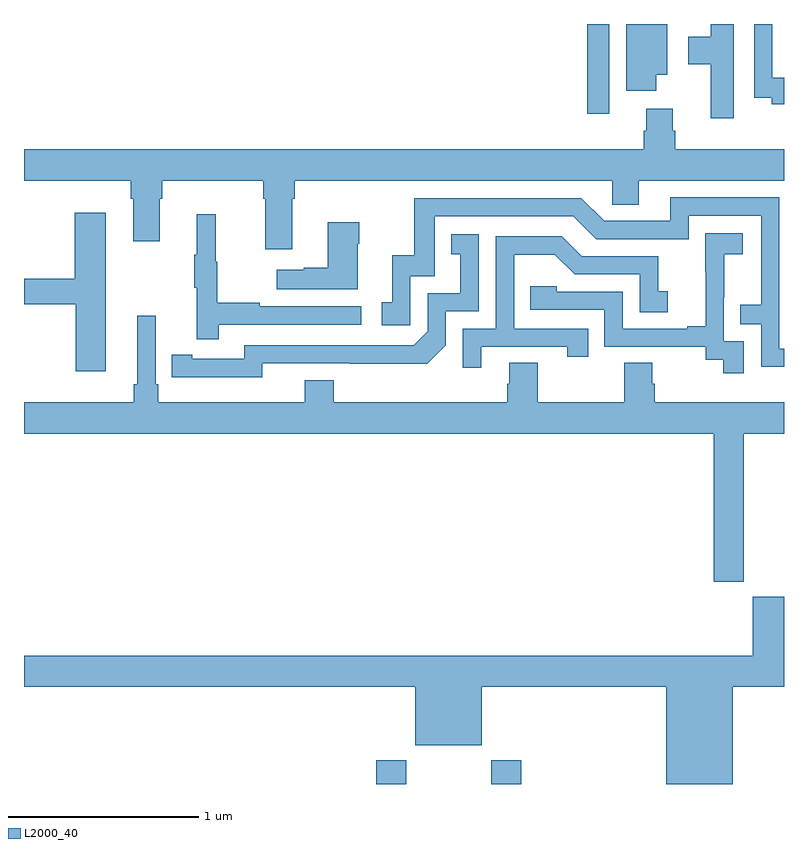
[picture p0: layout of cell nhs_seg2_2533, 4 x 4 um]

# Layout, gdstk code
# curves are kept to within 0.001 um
import gdstk
lib = gdstk.Library(unit=1e-6, precision=1e-09)
def R(c, l, rs):  # rectangles x0, y0, x1, y1
    for r in rs: c.add(gdstk.rectangle(r[:2], r[2:], *l))
def P(c, l, *ps):  # polygons
    for p in ps: c.add(gdstk.Polygon(p, *l))
L2000_40 = (2000, 40)

nhs_seg2_2533 = lib.new_cell('nhs_seg2_2533')
R(nhs_seg2_2533, L2000_40, [(244.853,637.8,245.013,637.924), (245.458,637.8,245.618,637.924), (245.965,641.328,246.081,641.8)])
P(nhs_seg2_2533, L2000_40, [(247,641.518),(246.939,641.518),(246.939,641.8),(246.843,641.8),(246.843,641.412),(246.935,641.412),(246.935,641.378),(247,641.378)],
  [(246.328,641.534),(246.385,641.534),(246.385,641.8),(246.17,641.8),(246.17,641.448),(246.328,641.448)],
  [(246.736,641.8),(246.614,641.8),(246.614,641.734),(246.497,641.734),(246.497,641.587),(246.614,641.587),(246.614,641.304),(246.736,641.304)],
  [(244.411,640.88),(244.424,640.88),(244.424,640.976),(246.096,640.976),(246.096,640.849),(246.235,640.849),(246.235,640.976),(247,640.976),(247,641.14),(246.428,641.14),(246.428,641.238),(246.415,641.238),(246.415,641.353),(246.275,641.353),(246.275,641.238),(246.263,641.238),(246.263,641.14),(243,641.14),(243,640.976),(243.563,640.976),(243.563,640.88),(243.575,640.88),(243.575,640.656),(243.715,640.656),(243.715,640.88),(243.728,640.88),(243.728,640.976),(244.259,640.976),(244.259,640.88),(244.271,640.88),(244.271,640.614),(244.411,640.614)],
  [(247,640.092),(246.975,640.092),(246.975,640.887),(246.401,640.887),(246.401,640.764),(246.054,640.764),(245.934,640.884),(245.055,640.884),(245.055,640.582),(244.937,640.582),(244.937,640.335),(244.884,640.335),(244.884,640.215),(245.034,640.215),(245.034,640.473),(245.163,640.473),(245.163,640.788),(245.892,640.788),(246.012,640.668),(246.498,640.668),(246.498,640.791),(246.879,640.791),(246.879,640.322),(246.769,640.322),(246.769,640.221),(246.879,640.221),(246.879,639.996),(247,639.996)],
  [(243.43,640.807),(243.266,640.807),(243.266,640.46),(243,640.46),(243,640.324),(243.272,640.324),(243.272,639.972),(243.43,639.972)],
  [(244.025,640.218),(244.774,640.218),(244.774,640.314),(244.241,640.314),(244.241,640.334),(244.018,640.334),(244.018,640.548),(244.01,640.548),(244.01,640.798),(243.908,640.798),(243.908,640.585),(243.897,640.585),(243.897,640.411),(243.908,640.411),(243.908,640.14),(244.025,640.14)],
  [(244.756,640.643),(244.764,640.643),(244.764,640.756),(244.598,640.756),(244.598,640.517),(244.472,640.517),(244.472,640.507),(244.329,640.507),(244.329,640.403),(244.756,640.403)],
  [(246.789,640.131),(246.684,640.131),(246.684,640.361),(246.686,640.361),(246.686,640.589),(246.784,640.589),(246.784,640.699),(246.586,640.699),(246.586,640.493),(246.587,640.493),(246.587,640.21),(246.491,640.21),(246.491,640.197),(246.15,640.197),(246.15,640.392),(245.805,640.392),(245.805,640.419),(245.665,640.419),(245.665,640.296),(246.054,640.296),(246.054,640.101),(246.588,640.101),(246.588,640.033),(246.681,640.033),(246.681,639.963),(246.789,639.963)],
  [(244.254,640.014),(245.122,640.013),(245.22,640.11),(245.22,640.287),(245.394,640.287),(245.394,640.693),(245.248,640.693),(245.248,640.587),(245.297,640.587),(245.297,640.383),(245.124,640.383),(245.124,640.182),(245.052,640.11),(244.158,640.11),(244.158,640.038),(243.886,640.038),(243.886,640.058),(243.778,640.058),(243.778,639.942),(244.254,639.941)],
  [(245.407,640.101),(245.858,640.101),(245.858,640.05),(245.969,640.05),(245.969,640.197),(245.58,640.197),(245.58,640.586),(245.794,640.586),(245.898,640.482),(246.24,640.482),(246.24,640.284),(246.388,640.284),(246.388,640.393),(246.339,640.393),(246.339,640.578),(245.935,640.578),(245.83,640.683),(245.484,640.683),(245.484,640.197),(245.31,640.197),(245.31,639.99),(245.407,639.99)],
  [(246.789,639.644),(247,639.644),(247,639.808),(246.32,639.808),(246.32,639.906),(246.307,639.906),(246.307,640.016),(246.16,640.016),(246.16,639.808),(245.703,639.808),(245.703,640.016),(245.555,640.016),(245.555,639.906),(245.543,639.906),(245.543,639.808),(244.631,639.808),(244.631,639.925),(244.478,639.925),(244.478,639.808),(243.707,639.808),(243.707,639.904),(243.693,639.904),(243.693,640.264),(243.596,640.264),(243.596,639.904),(243.577,639.904),(243.577,639.808),(243,639.808),(243,639.644),(246.629,639.644),(246.629,638.865),(246.789,638.865)],
  [(246.73,638.312),(247,638.312),(247,638.785),(246.836,638.785),(246.836,638.476),(243,638.476),(243,638.312),(245.06,638.312),(245.06,638.003),(245.41,638.003),(245.41,638.312),(246.38,638.312),(246.38,637.8),(246.73,637.8)])

lib.write_gds('nhs_seg2_2533.gds')
